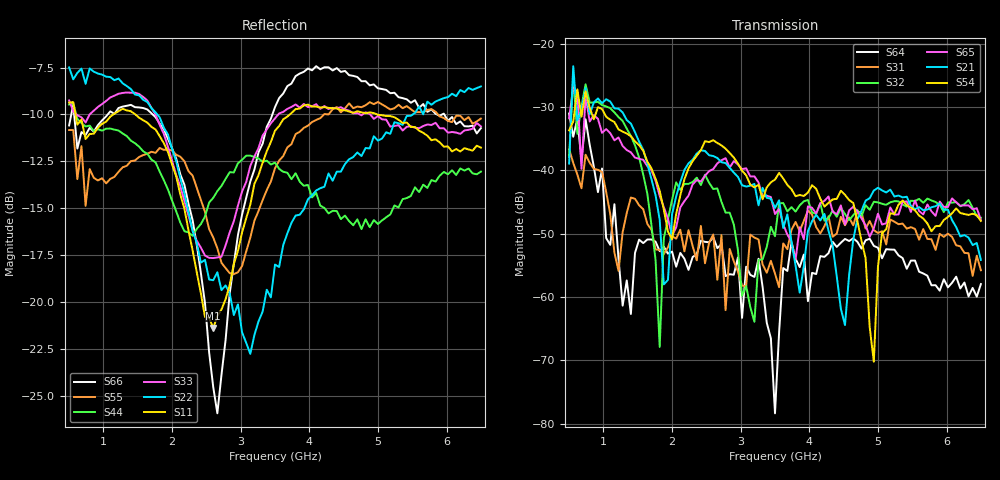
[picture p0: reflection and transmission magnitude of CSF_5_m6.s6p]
!Keysight Technologies,M9804A,MY58100912,A.14.10.03
!Date: Thursday, April 27, 2023 10:28:33
!Correction: S11(C  6-Port  )
!S12(C  6-Port  )
!S13(C  6-Port  )
!S14(C  6-Port  )
!S15(C  6-Port  )
!S16(C  6-Port  )
!S21(C  6-Port  )
!S22(C  6-Port  )
!S23(C  6-Port  )
!S24(C  6-Port  )
!S25(C  6-Port  )
!S26(C  6-Port  )
!S31(C  6-Port  )
!S32(C  6-Port  )
!S33(C  6-Port  )
!S34(C  6-Port  )
!S35(C  6-Port  )
!S36(C  6-Port  )
!S41(C  6-Port  )
!S42(C  6-Port  )
!S43(C  6-Port  )
!S44(C  6-Port  )
!S45(C  6-Port  )
!S46(C  6-Port  )
!S51(C  6-Port  )
!S52(C  6-Port  )
!S53(C  6-Port  )
!S54(C  6-Port  )
!S55(C  6-Port  )
!S56(C  6-Port  )
!S61(C  6-Port  )
!S62(C  6-Port  )
!S63(C  6-Port  )
!S64(C  6-Port  )
!S65(C  6-Port  )
!S66(C  6-Port  )
!S6P File: Measurement: :
# Hz S  RI  R 50
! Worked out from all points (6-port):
!   101 points, 500 MHz to 6.5 GHz, reference 50 ohm
!   strongest paths, dB at 500 MHz, 2 GHz, 3.5 GHz, 5 GHz, 6.5 GHz:
!     S54: -33.7, -50.9, -41.5, -55.2, -48.0
!     S21: -38.9, -46.9, -45.9, -42.7, -54.1
!     S65: -31.8, -50.3, -46.9, -46.8, -47.8
!     S32: -37.9, -44.6, -50.4, -45.1, -47.5
!     S31: -36.7, -50.4, -56.3, -49.9, -55.8
!     S64: -31.0, -52.8, -78.4, -52.2, -57.9
!   lowest |S11| = -21.4 dB at 2.6 GHz (marker M1), VSWR 1.19, Z = 42.5 + j2.29 ohm
!   |S11| at or under -10 dB: 593 MHz to 1.143 GHz (550.2 MHz wide, 63.4 % of centre); 1.466 GHz to 3.715 GHz (2.25 GHz wide, 86.8 % of centre); 4.988 GHz to end of sweep
